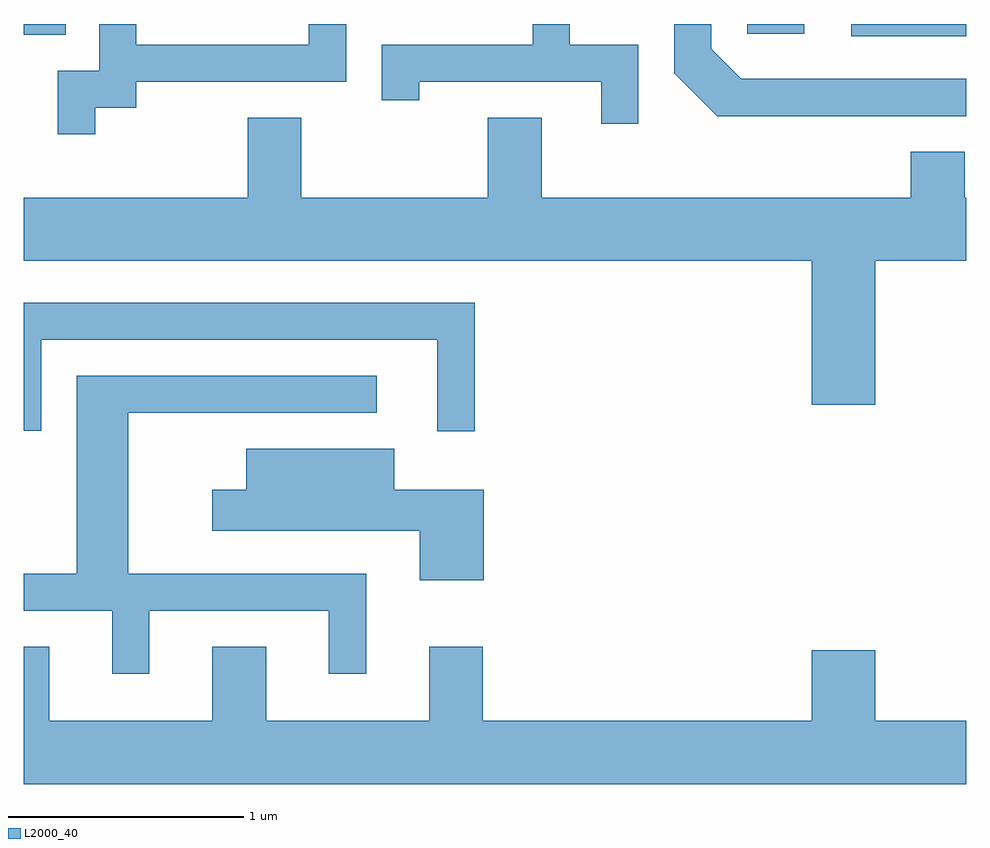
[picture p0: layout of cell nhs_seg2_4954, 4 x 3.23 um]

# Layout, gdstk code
import gdstk
lib = gdstk.Library(unit=1e-6, precision=1e-09)
def R(c, l, rs):  # rectangles x0, y0, x1, y1
    for r in rs: c.add(gdstk.rectangle(r[:2], r[2:], *l))
def P(c, l, *ps):  # polygons
    for p in ps: c.add(gdstk.Polygon(p, *l))
L2000_40 = (2000, 40)

nhs_seg2_4954 = lib.new_cell('nhs_seg2_4954')
R(nhs_seg2_4954, L2000_40, [(335.123,1013.751,335.611,1013.802), (331.611,1013.756,331.788,1013.802), (334.681,1013.761,334.923,1013.802)])
P(nhs_seg2_4954, L2000_40, [(331.914,1013.446),(332.089,1013.446),(332.089,1013.556),(332.979,1013.556),(332.979,1013.802),(332.821,1013.802),(332.821,1013.714),(332.089,1013.714),(332.089,1013.802),(331.931,1013.802),(331.931,1013.604),(331.756,1013.604),(331.756,1013.333),(331.914,1013.333)],
  [(335.611,1013.569),(334.657,1013.569),(334.529,1013.697),(334.529,1013.802),(334.371,1013.802),(334.371,1013.594),(334.554,1013.411),(335.611,1013.411)],
  [(334.219,1013.714),(333.929,1013.714),(333.929,1013.802),(333.771,1013.802),(333.771,1013.714),(333.131,1013.714),(333.131,1013.478),(333.289,1013.478),(333.289,1013.556),(334.061,1013.556),(334.061,1013.378),(334.219,1013.378)],
  [(335.224,1012.796),(335.611,1012.796),(335.611,1013.064),(335.604,1013.064),(335.604,1013.259),(335.376,1013.259),(335.376,1013.064),(333.809,1013.064),(333.809,1013.404),(333.581,1013.404),(333.581,1013.064),(332.789,1013.064),(332.789,1013.404),(332.561,1013.404),(332.561,1013.064),(331.611,1013.064),(331.611,1012.796),(334.956,1012.796),(334.956,1012.186),(335.224,1012.186)],
  [(333.524,1012.619),(331.611,1012.619),(331.611,1012.076),(331.684,1012.076),(331.684,1012.461),(333.366,1012.461),(333.366,1012.073),(333.524,1012.073)],
  [(332.144,1011.311),(332.906,1011.311),(332.906,1011.043),(333.064,1011.043),(333.064,1011.469),(332.054,1011.469),(332.054,1012.151),(333.108,1012.151),(333.108,1012.309),(331.836,1012.309),(331.836,1011.469),(331.611,1011.469),(331.611,1011.311),(331.986,1011.311),(331.986,1011.043),(332.144,1011.043)],
  [(333.564,1011.824),(333.184,1011.824),(333.184,1011.999),(332.556,1011.999),(332.556,1011.824),(332.411,1011.824),(332.411,1011.651),(333.291,1011.651),(333.291,1011.441),(333.564,1011.441)],
  [(335.611,1010.844),(335.224,1010.844),(335.224,1011.144),(334.956,1011.144),(334.956,1010.844),(333.559,1010.844),(333.559,1011.159),(333.331,1011.159),(333.331,1010.844),(332.639,1010.844),(332.639,1011.159),(332.411,1011.159),(332.411,1010.844),(331.719,1010.844),(331.719,1011.159),(331.611,1011.159),(331.611,1010.576),(335.611,1010.576)])

lib.write_gds('nhs_seg2_4954.gds')
